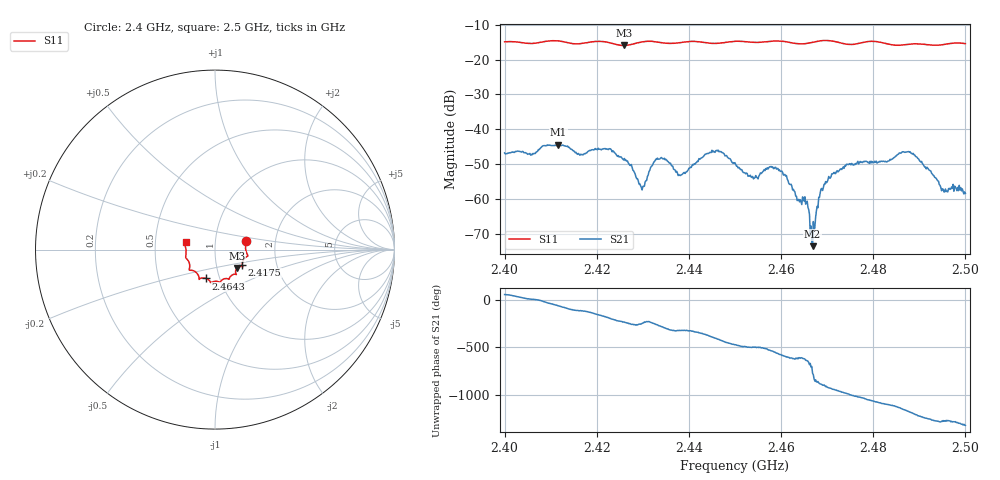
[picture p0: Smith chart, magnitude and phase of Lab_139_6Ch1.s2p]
# Hz S RI R 50
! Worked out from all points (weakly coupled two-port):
!   601 points, 2.4 GHz to 2.5 GHz, reference 50 ohm
!   highest |S21| = -44.43 dB at 2.4117 GHz (marker M1); lowest = -73.6 dB at 2.4668 GHz (marker M2)
!   lowest |S11| = -15.9 dB at 2.4258 GHz (marker M3), VSWR 1.38, Z = 62.3 - j13.2 ohm
!   |S11| at or under -10 dB: start of sweep to end of sweep
!   S12 and S22 are empty: the file has one direction only
!   S11 on the Smith chart (normalised r, x): 2.4 GHz: 1.41, +0.14; 2.4175 GHz: 1.33, -0.23; 2.4643 GHz: 0.86, -0.29; 2.5 GHz: 0.72, +0.06
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2.4e9  0.1733 0.049  0.00244 0.00387  0 0  0 0
2.411667e9  0.1822 -0.0363  0.00287 -0.00528  0 0  0 0
2.416667e9  0.1529 -0.0742  -0.00179 -0.00393  0 0  0 0
2.4175e9  0.1517 -0.0836  -0.00215 -0.0039  0 0  0 0
2.425833e9  0.1219 -0.1029  -0.00219 0.00288  0 0  0 0
2.429833e9  0.1171 -0.1361  -0.000512 0.00124  0 0  0 0
2.433333e9  0.1136 -0.1372  -0.000103 0.00372  0 0  0 0
2.438167e9  0.0818 -0.1554  0.0017 0.00133  0 0  0 0
2.4455e9  0.0515 -0.1628  0.0036 -0.00306  0 0  0 0
2.45e9  0.0287 -0.1811  -0.00127 -0.00306  0 0  0 0
2.4545e9  0.00651 -0.1765  -0.00157 -0.00149  0 0  0 0
2.459167e9  -0.0232 -0.184  -0.00252 0.00105  0 0  0 0
2.464333e9  -0.0499 -0.1608  -0.000314 0.000839  0 0  0 0
2.465667e9  -0.0658 -0.158  0.00019 0.000908  0 0  0 0
2.466667e9  -0.0761 -0.159  0.000237 7.68e-05  0 0  0 0
2.466833e9  -0.0776 -0.1593  0.000125 -0.000169  0 0  0 0
2.468667e9  -0.0877 -0.165  -0.00136 -0.000272  0 0  0 0
2.470833e9  -0.0879 -0.1641  -0.00174 0.00114  0 0  0 0
2.483333e9  -0.1407 -0.0896  0.00317 -0.00149  0 0  0 0
2.488167e9  -0.1607 -0.0485  -0.00141 -0.00432  0 0  0 0
2.495e9  -0.1634 0.0101  -0.00129 0.000538  0 0  0 0
2.5e9  -0.1641 0.043  -0.000506 0.00109  0 0  0 0
